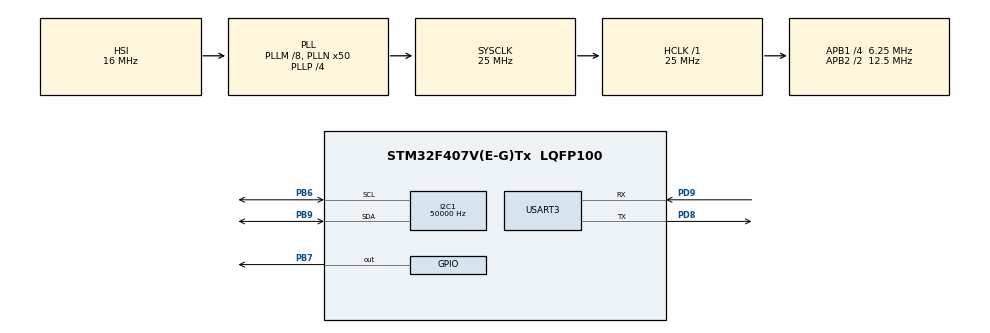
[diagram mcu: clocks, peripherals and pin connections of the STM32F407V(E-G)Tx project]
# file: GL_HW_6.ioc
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I2C1.ClockSpeed=50000
Mcu.Family=STM32F4
Mcu.Name=STM32F407V(E-G)Tx
Mcu.Package=LQFP100
NVIC.PriorityGroup=NVIC_PRIORITYGROUP_1
NVIC.USART3_IRQn=true\:1\:0\:true\:false\:true\:true\:true\:true
PB6.Mode=I2C
PB6.Signal=I2C1_SCL
PB7.Signal=GPIO_Output
PB9.Mode=I2C
PB9.Signal=I2C1_SDA
PD8.Mode=Asynchronous
PD8.Signal=USART3_TX
PD9.Mode=Asynchronous
PD9.Signal=USART3_RX
ProjectManager.HeapSize=0x200
ProjectManager.StackSize=0x400
ProjectManager.TargetToolchain=STM32CubeIDE
RCC.48MHZClocksFreq_Value=14285714.285714285
RCC.AHBFreq_Value=25000000
RCC.APB1CLKDivider=RCC_HCLK_DIV4
RCC.APB1Freq_Value=6250000
RCC.APB1TimFreq_Value=12500000
RCC.APB2CLKDivider=RCC_HCLK_DIV2
RCC.APB2Freq_Value=12500000
RCC.APB2TimFreq_Value=25000000
RCC.CortexFreq_Value=25000000
RCC.HCLKFreq_Value=25000000
RCC.HSE_VALUE=8000000
RCC.HSI_VALUE=16000000
RCC.LSE_VALUE=32768
RCC.PLLM=8
RCC.PLLN=50
RCC.PLLP=RCC_PLLP_DIV4
RCC.PLLQ=7
RCC.SYSCLKFreq_VALUE=25000000
RCC.SYSCLKSource=RCC_SYSCLKSOURCE_PLLCLK
RCC.VCOOutputFreq_Value=100000000
USART3.VirtualMode=VM_ASYNC
board=STM32F407G-DISC1

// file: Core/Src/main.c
/* USER CODE BEGIN Header */
/**
  ******************************************************************************
  * @file           : main.c
  * @brief          : Main program body
  ******************************************************************************
  * @attention
  *
  * Copyright (c) 2023 STMicroelectronics.
  * All rights reserved.
  *
  * This software is licensed under terms that can be found in the LICENSE file
  * in the root directory of this software component.
  * If no LICENSE file comes with this software, it is provided AS-IS.
  *
  ******************************************************************************
  */
/* USER CODE END Header */
#include "main.h"

/* USER CODE BEGIN PTD */
pca9685_handle handle;

typedef enum pca9685_commandFlags
{
  NO_FLAG = 0,
  FREQUNECY,
  DUTY,
  SLEEP_ON,
  SLEEP_OFF
} pca9685_flags;
/* USER CODE END PTD */

I2C_HandleTypeDef hi2c1;

UART_HandleTypeDef huart3;

/* USER CODE BEGIN PV */
uint8_t UART3_rxBuffer[UART3_RX_BUFFER_SIZE] = {0};
uint8_t UART3_currentIndex = 0;

uint8_t doneCommandStr[31] = "Command executed successfully!\n";
uint8_t wrongCommandStr[41] = "Problem occurred while executing command\n";

bool isCommandEntered = false;
pca9685_flags currentFlag = NO_FLAG;

uint32_t PCA9685_command_value = 0;
uint16_t PCA9685_command_channel = 0;
/* USER CODE END PV */

void SystemClock_Config(void);
static void MX_GPIO_Init(void);
static void MX_I2C1_Init(void);
static void MX_USART3_UART_Init(void);
/* USER CODE BEGIN PFP */
void handleCommandFlag (uint8_t* command);
/* USER CODE END PFP */

int main(void)
{

  /* MCU Configuration--------------------------------------------------------*/

  /* Reset of all peripherals, Initializes the Flash interface and the Systick. */
  HAL_Init();

  /* Configure the system clock */
  SystemClock_Config();

  /* Initialize all configured peripherals */
  MX_GPIO_Init();
  MX_I2C1_Init();
  MX_USART3_UART_Init();
  /* USER CODE BEGIN 2 */
  HAL_Delay(100);
  HAL_GPIO_WritePin(GPIOB, GPIO_PIN_7, GPIO_PIN_RESET);
  pca9685_handle handle = {
        .i2c_handle = &hi2c1,
        .device_address = PCA9685_I2C_DEFAULT_DEVICE_ADDRESS,
    };

  PCA9685_Init(&handle);
  PCA9685_setDutyCycle(&handle, 90, 0);

  HAL_UART_Receive_IT(&huart3, (uint8_t*)UART3_rxBuffer, 1);

  PCA9685_setDutyCycle(&handle, 30, 0);
  /* USER CODE END 2 */

  /* Infinite loop */
  /* USER CODE BEGIN WHILE */
  while (1)
  {
	  /*
	   * Added flag-cheking system outside handleCommandFlag function, because inside of it
	   * I2C modules refused to work properly
	   */
	  if (isCommandEntered)
	  {
		  handleCommandFlag(UART3_rxBuffer);
		  isCommandEntered = false;
	      switch (currentFlag)
	      {
	        case FREQUNECY:
				if (PCA9685_setFrequency(&handle, (float) PCA9685_command_value) == true)
				{
					HAL_UART_Transmit(&huart3, doneCommandStr, sizeof(doneCommandStr), 100);
				}
				else
				{
					HAL_UART_Transmit(&huart3, wrongCommandStr, sizeof(wrongCommandStr), 100);
				}
				currentFlag = NO_FLAG;
	        	break;

	        case DUTY:
				if (PCA9685_setDutyCycle(&handle, PCA9685_command_value, PCA9685_command_channel) == true)
				{
					HAL_UART_Transmit(&huart3, doneCommandStr, sizeof(doneCommandStr), 100);
				}
				else
				{
					HAL_UART_Transmit(&huart3, wrongCommandStr, sizeof(wrongCommandStr), 100);
				}
				currentFlag = NO_FLAG;
	        	break;

	        case SLEEP_ON:
				if (PCA9685_sleep(&handle) == true)
				{
					HAL_UART_Transmit(&huart3, doneCommandStr, sizeof(doneCommandStr), 100);
				}
				else
				{
					HAL_UART_Transmit(&huart3, wrongCommandStr, sizeof(wrongCommandStr), 100);
				}
				currentFlag = NO_FLAG;
	        	break;

	        case SLEEP_OFF:
				if (PCA9685_wakeUp(&handle) == true)
				{
					HAL_UART_Transmit(&huart3, doneCommandStr, sizeof(doneCommandStr), 100);
				}
				else
				{
					HAL_UART_Transmit(&huart3, wrongCommandStr, sizeof(wrongCommandStr), 100);
				}
				currentFlag = NO_FLAG;
	        	break;

	        default:
	        	currentFlag = NO_FLAG;
	        	break;
	      }

	      UART3_currentIndex = 0;
	  }
    /* USER CODE END WHILE */

  }
}

void SystemClock_Config(void)
{
  RCC_OscInitTypeDef RCC_OscInitStruct = {0};
  RCC_ClkInitTypeDef RCC_ClkInitStruct = {0};

  /** Configure the main internal regulator output voltage
  */
  __HAL_RCC_PWR_CLK_ENABLE();
  __HAL_PWR_VOLTAGESCALING_CONFIG(PWR_REGULATOR_VOLTAGE_SCALE1);

  /** Initializes the RCC Oscillators according to the specified parameters
  * in the RCC_OscInitTypeDef structure.
  */
  RCC_OscInitStruct.OscillatorType = RCC_OSCILLATORTYPE_HSI;
  RCC_OscInitStruct.HSIState = RCC_HSI_ON;
  RCC_OscInitStruct.HSICalibrationValue = RCC_HSICALIBRATION_DEFAULT;
  RCC_OscInitStruct.PLL.PLLState = RCC_PLL_ON;
  RCC_OscInitStruct.PLL.PLLSource = RCC_PLLSOURCE_HSI;
  RCC_OscInitStruct.PLL.PLLM = 8;
  RCC_OscInitStruct.PLL.PLLN = 50;
  RCC_OscInitStruct.PLL.PLLP = RCC_PLLP_DIV4;
  RCC_OscInitStruct.PLL.PLLQ = 7;
  if (HAL_RCC_OscConfig(&RCC_OscInitStruct) != HAL_OK)
  {
    Error_Handler();
  }

  /** Initializes the CPU, AHB and APB buses clocks
  */
  RCC_ClkInitStruct.ClockType = RCC_CLOCKTYPE_HCLK|RCC_CLOCKTYPE_SYSCLK
                              |RCC_CLOCKTYPE_PCLK1|RCC_CLOCKTYPE_PCLK2;
  RCC_ClkInitStruct.SYSCLKSource = RCC_SYSCLKSOURCE_PLLCLK;
  RCC_ClkInitStruct.AHBCLKDivider = RCC_SYSCLK_DIV1;
  RCC_ClkInitStruct.APB1CLKDivider = RCC_HCLK_DIV4;
  RCC_ClkInitStruct.APB2CLKDivider = RCC_HCLK_DIV2;

  if (HAL_RCC_ClockConfig(&RCC_ClkInitStruct, FLASH_LATENCY_0) != HAL_OK)
  {
    Error_Handler();
  }
}

static void MX_I2C1_Init(void)
{

  hi2c1.Instance = I2C1;
  hi2c1.Init.ClockSpeed = 50000;
  hi2c1.Init.DutyCycle = I2C_DUTYCYCLE_2;
  hi2c1.Init.OwnAddress1 = 0;
  hi2c1.Init.AddressingMode = I2C_ADDRESSINGMODE_7BIT;
  hi2c1.Init.DualAddressMode = I2C_DUALADDRESS_DISABLE;
  hi2c1.Init.OwnAddress2 = 0;
  hi2c1.Init.GeneralCallMode = I2C_GENERALCALL_DISABLE;
  hi2c1.Init.NoStretchMode = I2C_NOSTRETCH_DISABLE;
  if (HAL_I2C_Init(&hi2c1) != HAL_OK)
  {
    Error_Handler();
  }

}

static void MX_USART3_UART_Init(void)
{

  huart3.Instance = USART3;
  huart3.Init.BaudRate = 115200;
  huart3.Init.WordLength = UART_WORDLENGTH_8B;
  huart3.Init.StopBits = UART_STOPBITS_1;
  huart3.Init.Parity = UART_PARITY_NONE;
  huart3.Init.Mode = UART_MODE_TX_RX;
  huart3.Init.HwFlowCtl = UART_HWCONTROL_NONE;
  huart3.Init.OverSampling = UART_OVERSAMPLING_16;
  if (HAL_UART_Init(&huart3) != HAL_OK)
  {
    Error_Handler();
  }

}

static void MX_GPIO_Init(void)
{
  GPIO_InitTypeDef GPIO_InitStruct = {0};

  /* GPIO Ports Clock Enable */
  __HAL_RCC_GPIOD_CLK_ENABLE();
  __HAL_RCC_GPIOB_CLK_ENABLE();

  /*Configure GPIO pin Output Level */
  HAL_GPIO_WritePin(GPIOB, GPIO_PIN_7, GPIO_PIN_RESET);

  /*Configure GPIO pin : PB7 */
  GPIO_InitStruct.Pin = GPIO_PIN_7;
  GPIO_InitStruct.Mode = GPIO_MODE_OUTPUT_PP;
  GPIO_InitStruct.Pull = GPIO_NOPULL;
  GPIO_InitStruct.Speed = GPIO_SPEED_FREQ_LOW;
  HAL_GPIO_Init(GPIOB, &GPIO_InitStruct);

}

/* USER CODE BEGIN 4 */
void handleCommandFlag (uint8_t* command)
{
	char* parts[4];
	uint8_t part_index = 0;
	parts[part_index] = strtok((char*) command, " ");
	while (parts[part_index] != NULL && part_index < 3)
	{
	  parts[++part_index] = strtok(NULL, " ");
	}

	if (strcmp(parts[0], "set") == 0)
	{
		if (strcmp(parts[1], "freq") == 0)
		{
			currentFlag = FREQUNECY;
			PCA9685_command_value = atoi(parts[2]);
		}
		else if (strcmp(parts[1], "duty") == 0)
		{
			currentFlag = DUTY;
			PCA9685_command_channel = atoi(parts[2]);
			PCA9685_command_value = atoi(parts[3]);
		}
		else
		{
			HAL_UART_Transmit(&huart3, wrongCommandStr, sizeof(wrongCommandStr), 100);
		}
	}
	else if (strcmp(parts[0], "sleep") == 0)
	{
		if (strcmp(parts[1], "on") == 0)
		{
			currentFlag = SLEEP_ON;

		}
		else if (strcmp(parts[1], "off") == 0)
		{
			currentFlag = SLEEP_OFF;
		}
		else
		{
			HAL_UART_Transmit(&huart3, wrongCommandStr, sizeof(wrongCommandStr), 100);
		}
	}
	else
	{
		HAL_UART_Transmit(&huart3, wrongCommandStr, sizeof(wrongCommandStr), 100);
	}
}

void HAL_UART_RxCpltCallback(UART_HandleTypeDef *huart)
{
  HAL_UART_Transmit(&huart3, (uint8_t*)(UART3_rxBuffer + UART3_currentIndex), 1, 100);
  if (UART3_currentIndex < UART3_RX_BUFFER_SIZE)
  {
    if (UART3_rxBuffer[UART3_currentIndex] == '\r' || UART3_rxBuffer[UART3_currentIndex] == '\n')
    {
      // End of command received
    	UART3_rxBuffer[UART3_currentIndex] = '\0';
    	isCommandEntered = true;
    }
    else
    {
    	UART3_currentIndex++;
    }
  }

  HAL_UART_Receive_IT(&huart3,(uint8_t*)(UART3_rxBuffer + UART3_currentIndex), 1);
}
/* USER CODE END 4 */

void Error_Handler(void)
{
  __disable_irq();
  while (1)
  {
  }
}
